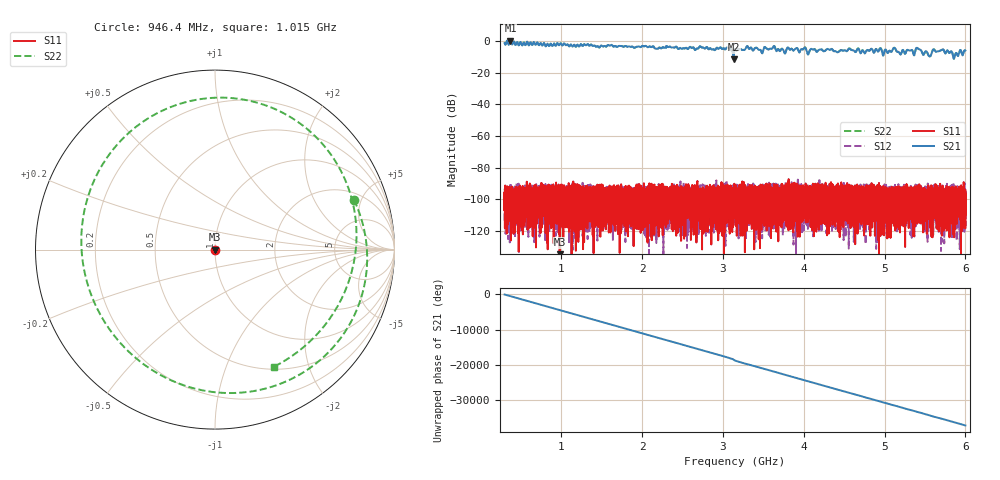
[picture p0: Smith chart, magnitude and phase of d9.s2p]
!Agilent Technologies,N5230C,SG49000117,A.08.50.07
!Agilent N5230C: A.08.50.07
!Date: Sunday, March 17, 2024 06:22:12
!Correction: S11(Off)
!S21(Off)
!S12(Off)
!S22(Off)
!S2P File: Measurements: S11, S21, S12, S22:
# Hz S  RI  R 50
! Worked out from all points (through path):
!   20001 points, 300 MHz to 6 GHz, reference 50 ohm
!   highest |S21| = 0.35 dB at 372.4 MHz (marker M1); lowest = -11.6 dB at 3.133 GHz (marker M2)
!   lowest |S11| = -138.0 dB at 980.6 MHz (marker M3), VSWR 1.00, Z = 50 - j9.98e-06 ohm
!   |S11| at or under -10 dB: start of sweep to end of sweep
!   |S22| runs from -11.5 to 0.4 dB; largest |S21 - S12| = 1
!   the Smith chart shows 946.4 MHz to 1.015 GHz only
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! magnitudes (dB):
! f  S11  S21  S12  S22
! 300 MHz  -98.7  -1.2  -113.4  -1.2
! 372.4 MHz  -99.5  0.3  -95.0  0.4
! 980.6 MHz  -138.0  -2.3  -104.4  -2.3
! 1.25 GHz  -94.2  -2.2  -93.4  -2.2
! 2.2 GHz  -101.6  -4.7  -98.1  -4.7
! 3.066 GHz  -97.8  -4.3  -96.8  -4.3
! 3.133 GHz  -97.4  -11.6  -100.2  -11.5
! 3.15 GHz  -100.9  -5.3  -110.2  -5.2
! 3.316 GHz  -108.0  -4.3  -101.8  -4.2
! 3.471 GHz  -106.2  -6.1  -96.0  -6.1
! 3.62 GHz  -98.8  -3.9  -100.9  -3.8
! 3.76 GHz  -96.2  -7.2  -99.4  -7.1
! 4.1 GHz  -101.0  -5.1  -97.0  -4.9
! 5.05 GHz  -107.5  -6.8  -100.9  -6.7
! 5.12 GHz  -97.6  -4.3  -102.4  -4.2
! 5.181 GHz  -95.0  -7.2  -101.5  -7.2
! 5.355 GHz  -98.5  -7.6  -101.3  -7.6
! 5.414 GHz  -102.6  -4.7  -100.8  -4.7
! 5.554 GHz  -107.5  -9.6  -96.6  -9.6
! 5.708 GHz  -102.8  -5.6  -94.8  -5.6
! 5.875 GHz  -96.3  -8.3  -96.8  -8.4
! 6 GHz  -96.7  -6.0  -107.7  -6.0
